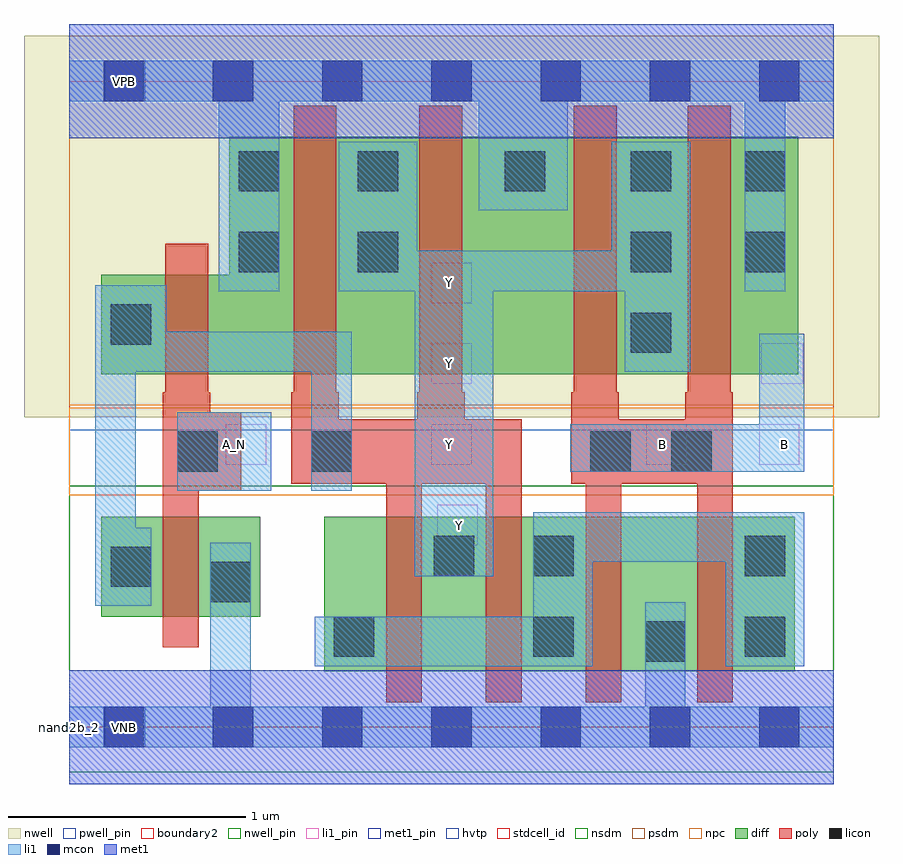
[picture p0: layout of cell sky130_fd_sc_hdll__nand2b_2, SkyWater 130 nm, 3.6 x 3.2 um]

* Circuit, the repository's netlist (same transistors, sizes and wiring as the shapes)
* Copyright 2020 The SkyWater PDK Authors
*
* Licensed under the Apache License, Version 2.0 (the "License");
* you may not use this file except in compliance with the License.
* You may obtain a copy of the License at
*
*     https://www.apache.org/licenses/LICENSE-2.0
*
* Unless required by applicable law or agreed to in writing, software
* distributed under the License is distributed on an "AS IS" BASIS,
* WITHOUT WARRANTIES OR CONDITIONS OF ANY KIND, either express or implied.
* See the License for the specific language governing permissions and
* limitations under the License.
*
* SPDX-License-Identifier: Apache-2.0

.SUBCKT sky130_fd_sc_hdll__nand2b_2 A_N B VGND VNB VPB VPWR Y
*.PININFO A_N:I B:I VGND:I VNB:I VPB:I VPWR:I Y:O
MMP0 Y A VPWR VPB sky130_fd_pr__pfet_01v8_hvt m=2 w=1.0U l=0.18U mult=1 sa=0.265
+ sb=0.265 sd=0.28 area=0.063 perim=1.14
MMP1 Y B VPWR VPB sky130_fd_pr__pfet_01v8_hvt m=2 w=1.0U l=0.18U mult=1 sa=0.265
+ sb=0.265 sd=0.28 area=0.063 perim=1.14
MMIP0 A A_N VPWR VPB sky130_fd_pr__pfet_01v8_hvt m=1 w=0.42U l=0.18U mult=1 sa=0.265
+ sb=0.265 sd=0.28 area=0.063 perim=1.14
MMN0 Y A sndA VNB sky130_fd_pr__nfet_01v8 m=2 w=0.65U l=0.15U mult=1 sa=0.265 sb=0.265
+ sd=0.28 area=0.063 perim=1.14
MMN1 sndA B VGND VNB sky130_fd_pr__nfet_01v8 m=2 w=0.65U l=0.15U mult=1 sa=0.265
+ sb=0.265 sd=0.28 area=0.063 perim=1.14
MMIN0 A A_N VGND VNB sky130_fd_pr__nfet_01v8 m=1 w=0.42U l=0.15U mult=1 sa=0.265
+ sb=0.265 sd=0.28 area=0.063 perim=1.14
.ENDS sky130_fd_sc_hdll__nand2b_2

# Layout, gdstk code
import gdstk
lib = gdstk.Library(unit=1e-6, precision=1e-09)
def R(c, l, rs):  # rectangles x0, y0, x1, y1
    for r in rs: c.add(gdstk.rectangle(r[:2], r[2:], *l))
def A(c, l, x, y, w, h, nx, ny, dx, dy):  # array of equal rectangles
    R(c, l, [(x+i*dx, y+j*dy, x+i*dx+w, y+j*dy+h) for i in range(nx) for j in range(ny)])
def P(c, l, *ps):  # polygons
    for p in ps: c.add(gdstk.Polygon(p, *l))
nwell_pin = (64, 16)
nwell = (64, 20)
diff = (65, 20)
poly = (66, 20)
licon = (66, 44)
li1_pin = (67, 16)
li1 = (67, 20)
mcon = (67, 44)
met1_pin = (68, 16)
met1 = (68, 20)
hvtp = (78, 44)
stdcell_id = (81, 4)
nsdm = (93, 44)
psdm = (94, 20)
npc = (95, 20)
pwell_pin = (122, 16)
boundary2 = (236, 0)

sky130_fd_sc_hdll__nand2 = lib.new_cell('sky130_fd_sc_hdll__nand2b_2')
R(sky130_fd_sc_hdll__nand2, nwell_pin, [(0.15,2.635,0.32,2.805)])
R(sky130_fd_sc_hdll__nand2, nwell, [(-0.19,1.305,3.41,2.91)])
R(sky130_fd_sc_hdll__nand2, diff, [(1.075,0.235,3.055,0.885), (0.135,0.465,0.805,0.885)])
P(sky130_fd_sc_hdll__nand2, diff, [(3.07,2.485),(0.675,2.485),(0.675,1.905),(0.135,1.905),(0.135,1.485),(3.07,1.485)])
P(sky130_fd_sc_hdll__nand2, poly, [(0.725,1.325),(0.595,1.325),(0.595,1.41),(0.585,1.41),(0.585,2.035),(0.405,2.035),(0.405,1.41),(0.395,1.41),(0.395,0.335),(0.545,0.335),(0.545,0.995),(0.725,0.995)],
  [(1.905,1.295),(1.665,1.295),(1.665,1.41),(1.655,1.41),(1.655,2.615),(1.475,2.615),(1.475,1.41),(1.465,1.41),(1.465,1.295),(1.135,1.295),(1.135,1.41),(1.125,1.41),(1.125,2.615),(0.945,2.615),(0.945,1.41),(0.935,1.41),(0.935,1.025),(1.335,1.025),(1.335,0.105),(1.485,0.105),(1.485,1.025),(1.755,1.025),(1.755,0.105),(1.905,0.105)],
  [(2.795,1.41),(2.785,1.41),(2.785,2.615),(2.605,2.615),(2.605,1.41),(2.595,1.41),(2.595,1.295),(2.315,1.295),(2.315,1.41),(2.305,1.41),(2.305,2.615),(2.125,2.615),(2.125,1.41),(2.115,1.41),(2.115,1.025),(2.175,1.025),(2.175,0.105),(2.325,0.105),(2.325,1.025),(2.645,1.025),(2.645,0.105),(2.795,0.105)])
A(sky130_fd_sc_hdll__nand2, licon, 2.365, 1.575, 0.17, 0.17, 1, 3, 0, 0.34)
R(sky130_fd_sc_hdll__nand2, licon, [(2.425,0.275,2.595,0.445), (1.115,0.295,1.285,0.465), (1.955,0.295,2.125,0.465), (2.845,0.295,3.015,0.465), (0.595,0.525,0.765,0.695), (0.175,0.59,0.345,0.76), (1.535,0.635,1.705,0.805), (1.955,0.635,2.125,0.805), (2.845,0.635,3.015,0.805), (0.455,1.075,0.625,1.245), (1.02,1.075,1.19,1.245), (2.195,1.075,2.365,1.245), (2.535,1.075,2.705,1.245), (0.175,1.61,0.345,1.78), (0.715,1.915,0.885,2.085), (1.215,1.915,1.385,2.085), (2.845,1.915,3.015,2.085), (0.715,2.255,0.885,2.425), (1.215,2.255,1.385,2.425), (1.835,2.255,2.005,2.425), (2.845,2.255,3.015,2.425)])
A(sky130_fd_sc_hdll__nand2, li1_pin, 1.525, 1.105, 0.17, 0.17, 1, 3, 0, 0.34)
R(sky130_fd_sc_hdll__nand2, li1_pin, [(1.55,0.765,1.72,0.935), (0.66,1.105,0.83,1.275), (2.43,1.105,2.6,1.275), (2.905,1.105,3.075,1.275), (2.915,1.445,3.085,1.615), (2.92,1.445,3.09,1.615)])
R(sky130_fd_sc_hdll__nand2, li1, [(0.455,0.995,0.85,1.325)])
P(sky130_fd_sc_hdll__nand2, li1, [(3.095,0.905),(1.955,0.905),(1.955,0.465),(1.035,0.465),(1.035,0.255),(2.205,0.255),(2.205,0.695),(2.765,0.695),(2.765,0.255),(3.095,0.255)],
  [(3.095,1.655),(2.905,1.655),(2.905,1.275),(2.11,1.275),(2.11,1.075),(3.095,1.075)],
  [(2.615,2.465),(2.285,2.465),(2.285,2.005),(1.465,2.005),(1.465,2.465),(1.135,2.465),(1.135,1.835),(1.455,1.835),(1.455,0.635),(1.785,0.635),(1.785,1.835),(2.34,1.835),(2.34,1.495),(2.615,1.495)],
  [(1.19,1.665),(0.41,1.665),(0.41,1.86),(0.11,1.86),(0.11,0.51),(0.345,0.51),(0.345,0.84),(0.28,0.84),(0.28,1.495),(1.02,1.495),(1.02,0.995),(1.19,0.995)],
  [(3.22,0.085),(2.595,0.085),(2.595,0.525),(2.425,0.525),(2.425,0.085),(0.765,0.085),(0.765,0.775),(0.595,0.775),(0.595,0.085),(0,0.085),(0,-0.085),(3.22,-0.085)],
  [(3.22,2.805),(0,2.805),(0,2.635),(0.63,2.635),(0.63,1.835),(0.885,1.835),(0.885,2.635),(1.725,2.635),(1.725,2.175),(2.1,2.175),(2.1,2.635),(2.845,2.635),(2.845,1.835),(3.015,1.835),(3.015,2.635),(3.22,2.635)])
A(sky130_fd_sc_hdll__nand2, mcon, 0.145, -0.085, 0.17, 0.17, 7, 2, 0.46, 2.72)
R(sky130_fd_sc_hdll__nand2, met1_pin, [(0.15,-0.085,0.32,0.085), (0.15,2.635,0.32,2.805)])
R(sky130_fd_sc_hdll__nand2, met1, [(0,-0.24,3.22,0.24), (0,2.48,3.22,2.96)])
R(sky130_fd_sc_hdll__nand2, hvtp, [(0,1.25,3.22,2.72)])
R(sky130_fd_sc_hdll__nand2, stdcell_id, [(0,0,3.22,2.72)])
R(sky130_fd_sc_hdll__nand2, nsdm, [(0,-0.19,3.22,1.015)])
R(sky130_fd_sc_hdll__nand2, psdm, [(0,1.355,3.22,2.91)])
R(sky130_fd_sc_hdll__nand2, npc, [(0,0.975,3.22,1.345)])
R(sky130_fd_sc_hdll__nand2, pwell_pin, [(0.15,-0.085,0.32,0.085)])
R(sky130_fd_sc_hdll__nand2, boundary2, [(0,0,3.22,2.72)])
sky130_fd_sc_hdll__nand2.add(gdstk.Label('B', (3.01,1.19), layer=67, texttype=5))
sky130_fd_sc_hdll__nand2.add(gdstk.Label('B', (2.5,1.19), layer=67, texttype=5))
sky130_fd_sc_hdll__nand2.add(gdstk.Label('Y', (1.645,0.85), layer=67, texttype=5))
sky130_fd_sc_hdll__nand2.add(gdstk.Label('Y', (1.6,1.19), layer=67, texttype=5))
sky130_fd_sc_hdll__nand2.add(gdstk.Label('Y', (1.6,1.53), layer=67, texttype=5))
sky130_fd_sc_hdll__nand2.add(gdstk.Label('Y', (1.6,1.87), layer=67, texttype=5))
sky130_fd_sc_hdll__nand2.add(gdstk.Label('A_N', (0.695,1.19), layer=67, texttype=5))
sky130_fd_sc_hdll__nand2.add(gdstk.Label('VNB', (0.235,0), layer=64, texttype=59))
sky130_fd_sc_hdll__nand2.add(gdstk.Label('VPB', (0.235,2.72), layer=64, texttype=5))
sky130_fd_sc_hdll__nand2.add(gdstk.Label('VGND', (0.235,0), layer=68, texttype=5))
sky130_fd_sc_hdll__nand2.add(gdstk.Label('VPWR', (0.235,2.72), layer=68, texttype=5))
sky130_fd_sc_hdll__nand2.add(gdstk.Label('nand2b_2', (0,0), layer=83, texttype=44))

lib.write_gds('sky130_fd_sc_hdll__nand2b_2.gds')
